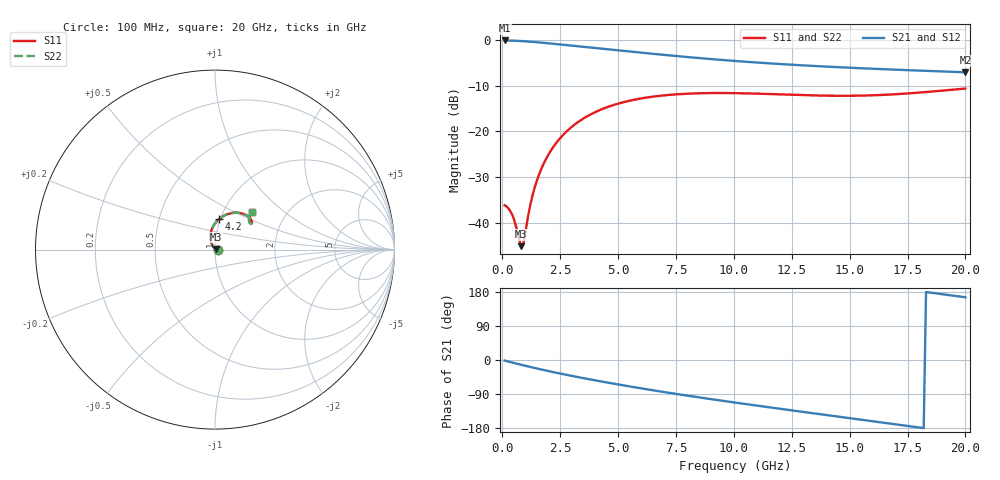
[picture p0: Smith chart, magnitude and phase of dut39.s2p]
! Created with skrf 1.9.0 (http://scikit-rf.org).
# GHz S RI R 50.0
!freq ReS11 ImS11 ReS21 ImS21 ReS12 ImS12 ReS22 ImS22
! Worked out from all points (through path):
!   200 points, 100 MHz to 20 GHz, reference 50 ohm
!   highest |S21| = -0.14 dB at 100 MHz (marker M1); lowest = -7.1 dB at 20 GHz (marker M2)
!   group delay of S21, straight-line fit = 25.7 ps
!   lowest |S11| = -45.1 dB at 800 MHz (marker M3), VSWR 1.01, Z = 50.4 + j0.383 ohm
!   |S11| at or under -10 dB: start of sweep to end of sweep
!   |S22| runs from -45.1 to -10.6 dB; largest |S21 - S12| = 2.6e-15
!   S11 on the Smith chart (normalised r, x): 100 MHz: 1.03, -0.00; 4.2 GHz: 0.98, +0.34; 20 GHz: 1.36, +0.62
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0.1  0.0156 -0.000124  0.9836 -0.027  0.9836 -0.027  0.0156 -0.000124
0.3  0.0141 -1.58e-05  0.9787 -0.0807  0.9787 -0.0807  0.0141 -1.58e-05
0.5  0.011 0.000641  0.9691 -0.133  0.9691 -0.133  0.011 0.000641
0.8  0.00407 0.0038  0.9472 -0.208  0.9472 -0.208  0.00407 0.0038
0.9  0.00134 0.0056  0.9381 -0.2318  0.9381 -0.2318  0.00134 0.0056
1.2  -0.00724 0.0135  0.9063 -0.2994  0.9063 -0.2994  -0.00724 0.0135
1.4  -0.0127 0.0208  0.8819 -0.3409  0.8819 -0.3409  -0.0127 0.0208
1.6  -0.0176 0.0296  0.8556 -0.3796  0.8556 -0.3796  -0.0176 0.0296
1.8  -0.0215 0.0396  0.8277 -0.4155  0.8277 -0.4155  -0.0215 0.0396
2.1  -0.0252 0.0563  0.7837 -0.4642  0.7837 -0.4642  -0.0252 0.0563
2.5  -0.0256 0.0803  0.7222 -0.5202  0.7222 -0.5202  -0.0256 0.0803
3  -0.0189 0.1104  0.643 -0.5774  0.643 -0.5774  -0.0189 0.1104
3.5  -0.00539 0.1379  0.5629 -0.622  0.5629 -0.622  -0.00539 0.1379
4.2  0.0214 0.1689  0.452 -0.6657  0.452 -0.6657  0.0214 0.1689
5.4  0.0758 0.1993  0.2717 -0.6984  0.2717 -0.6984  0.0758 0.1993
6.8  0.1337 0.2045  0.0867 -0.686  0.0867 -0.686  0.1337 0.2045
8.4  0.179 0.1887  -0.0858 -0.6291  -0.0858 -0.6291  0.179 0.1887
10.1  0.2019 0.1659  -0.2265 -0.5406  -0.2265 -0.5406  0.2019 0.1659
11.7  0.2061 0.1499  -0.3251 -0.4431  -0.3251 -0.4431  0.2061 0.1499
13.4  0.2005 0.1442  -0.3994 -0.3312  -0.3994 -0.3312  0.2005 0.1442
16.7  0.1894 0.1663  -0.4634 -0.1034  -0.4634 -0.1034  0.1894 0.1663
20  0.2065 0.2087  -0.4275 0.1111  -0.4275 0.1111  0.2065 0.2087
